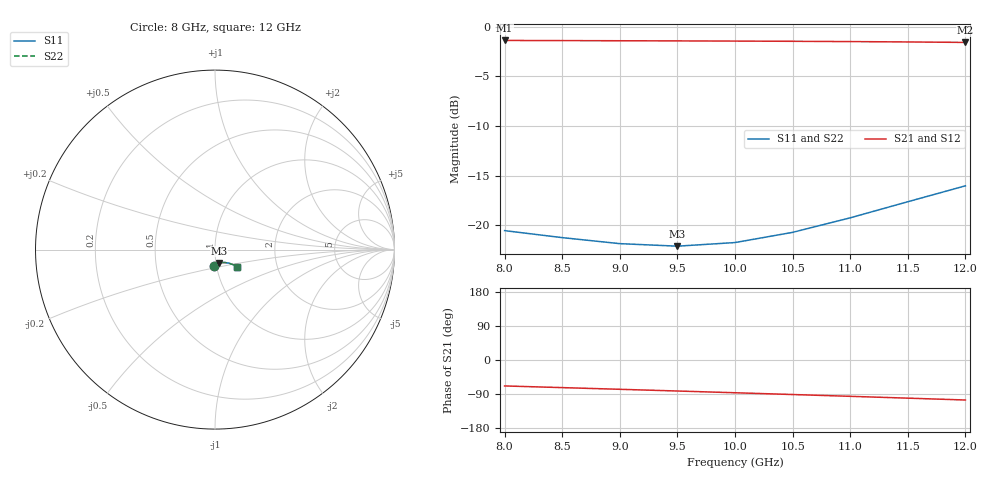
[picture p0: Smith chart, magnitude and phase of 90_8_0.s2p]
! Created Thu Oct 22 17:01:50 2020
# hz S ma R 50
! 2 Port Network Data from SP1.SP block
! freq  magS11  angS11  magS21  angS21  magS12  angS12  magS22  angS22
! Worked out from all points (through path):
!   9 points, 8 GHz to 12 GHz, reference 50 ohm
!   highest |S21| = -1.40 dB at 8 GHz (marker M1); lowest = -1.6 dB at 12 GHz (marker M2)
!   lowest |S11| = -22.1 dB at 9.5 GHz (marker M3), VSWR 1.17, Z = 51.7 - j7.81 ohm
!   |S11| at or under -10 dB: start of sweep to end of sweep
!   |S22| runs from -22.1 to -16.0 dB; largest |S21 - S12| = 0
8e9  0.09386 -92.8  0.8508 -68.5  0.8508 -68.5  0.09399 -92.7
8.5e9  0.08655 -89.2  0.8493 -72.9  0.8493 -72.9  0.0867 -89.2
9e9  0.08072 -82.7  0.8479 -77.3  0.8479 -77.3  0.08089 -82.7
9.5e9  0.07839 -73.1  0.8464 -81.8  0.8464 -81.8  0.07857 -73.2
1e10  0.08174 -61.9  0.8446 -86.4  0.8446 -86.4  0.0819 -62.0
1.05e10  0.09199 -51.6  0.8425 -91.1  0.8425 -91.1  0.09212 -51.8
1.1e10  0.1089 -44.1  0.8397 -95.8  0.8397 -95.8  0.1089 -44.2
1.15e10  0.1312 -39.6  0.8362 -100.7  0.8362 -100.7  0.1312 -39.7
1.2e10  0.1578 -37.6  0.8316 -105.6  0.8316 -105.6  0.1578 -37.7
